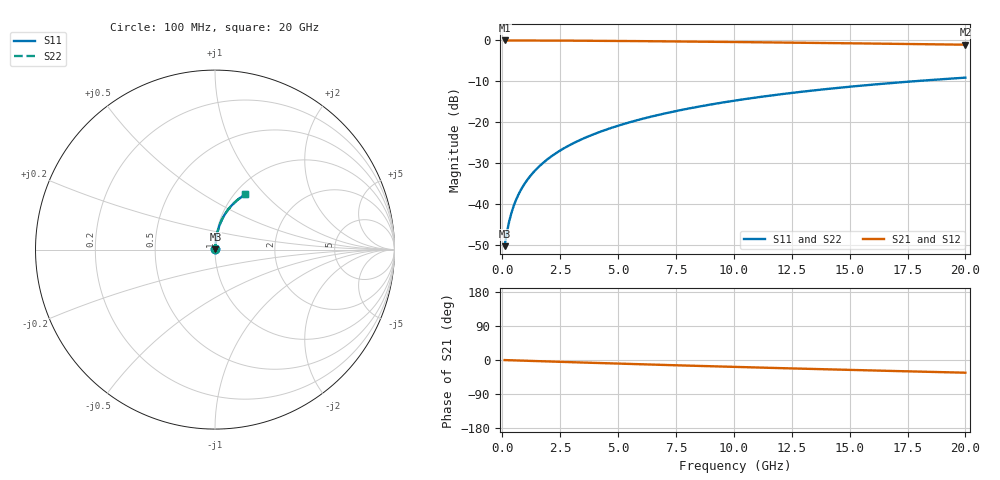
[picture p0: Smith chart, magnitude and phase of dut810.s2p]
! Touchstone file exported from HFSS 2024.1.0
!  File:  C:/UserFiles/LocalFiles/RDL_TSV_Batchsim/temp_RDL_top_810_1779854076.aedt
!  Generated:  11:57:07 AM May 27, 2026
!  Design:  RDL_top
!  Project:  temp_RDL_top_810_1779854076
!  Setup:  Setup1
!  Solution:  Sweep
! Variables:
!  dtsv = 10.80580581um
!  hbump = 3um
!  htsv = 97.12um
!  ldown = 100um
!  lrdl = 444.61um
!  p = 40
!  p1 = 48.26um
!  rhole = 1um
!  t = 450um
!  tdown = 3.915915916um
!  trdl = 4.04um
!  wdown = 15.38538539um
!  wrdl = 17.13um
# GHz S MA R 50.000000
! Terminal data exported
! Port[1] = Box2_T1
! Port[2] = Box2_T2
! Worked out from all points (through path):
!   200 points, 100 MHz to 20 GHz, reference 50 ohm
!   highest |S21| = -0.02 dB at 100 MHz (marker M1); lowest = -1.1 dB at 20 GHz (marker M2)
!   group delay of S21, straight-line fit = 4.64 ps
!   lowest |S11| = -50.2 dB at 100 MHz (marker M3), VSWR 1.01, Z = 50.2 + j0.193 ohm
!   |S11| at or under -10 dB: start of sweep to 17.72 GHz
!   |S22| runs from -50.2 to -9.1 dB; largest |S21 - S12| = 2.6e-15
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0.1  0.003088 38.5  0.9976 -0.2  0.9976 -0.2  0.003088 38.5
! Gamma 0 0 0 0
! Port Impedance 50 0 50 0
0.2  0.004559 56.8  0.9975 -0.4  0.9975 -0.4  0.004559 56.8
0.3  0.006235 65.4  0.9974 -0.6  0.9974 -0.6  0.006235 65.4
0.4  0.00796 70.1  0.9972 -0.8  0.9972 -0.8  0.00796 70.1
0.5  0.009698 73.2  0.9971 -1.0  0.9971 -1.0  0.009698 73.2
0.6  0.01144 75.3  0.997 -1.2  0.997 -1.2  0.01144 75.3
0.8  0.01495 78.1  0.9968 -1.6  0.9968 -1.6  0.01495 78.1
1.1  0.02024 80.5  0.9964 -2.1  0.9964 -2.1  0.02024 80.5
1.5  0.02736 82.2  0.9957 -2.9  0.9957 -2.9  0.02736 82.1
1.8  0.03273 82.8  0.9952 -3.5  0.9952 -3.5  0.03273 82.8
2.1  0.03812 83.2  0.9945 -4.1  0.9945 -4.1  0.03812 83.2
2.7  0.04895 83.5  0.9928 -5.2  0.9928 -5.2  0.04895 83.5
3.5  0.06348 83.3  0.9901 -6.7  0.9901 -6.7  0.06348 83.3
4.2  0.07628 82.9  0.9873 -8.0  0.9873 -8.0  0.07628 82.9
5  0.09098 82.3  0.9837 -9.5  0.9837 -9.5  0.09098 82.3
5.9  0.1076 81.4  0.9792 -11.1  0.9792 -11.1  0.1076 81.3
6.8  0.1243 80.3  0.9743 -12.7  0.9743 -12.7  0.1243 80.3
8.4  0.1539 78.3  0.9649 -15.5  0.9649 -15.5  0.1539 78.3
10.1  0.1853 75.9  0.9543 -18.3  0.9543 -18.3  0.1853 75.9
13.4  0.2444 71.0  0.9324 -23.6  0.9324 -23.6  0.2444 71.0
16.7  0.3 66.0  0.9093 -28.7  0.9093 -28.7  0.2999 66.0
20  0.351 61.1  0.8854 -33.5  0.8854 -33.5  0.351 61.1
